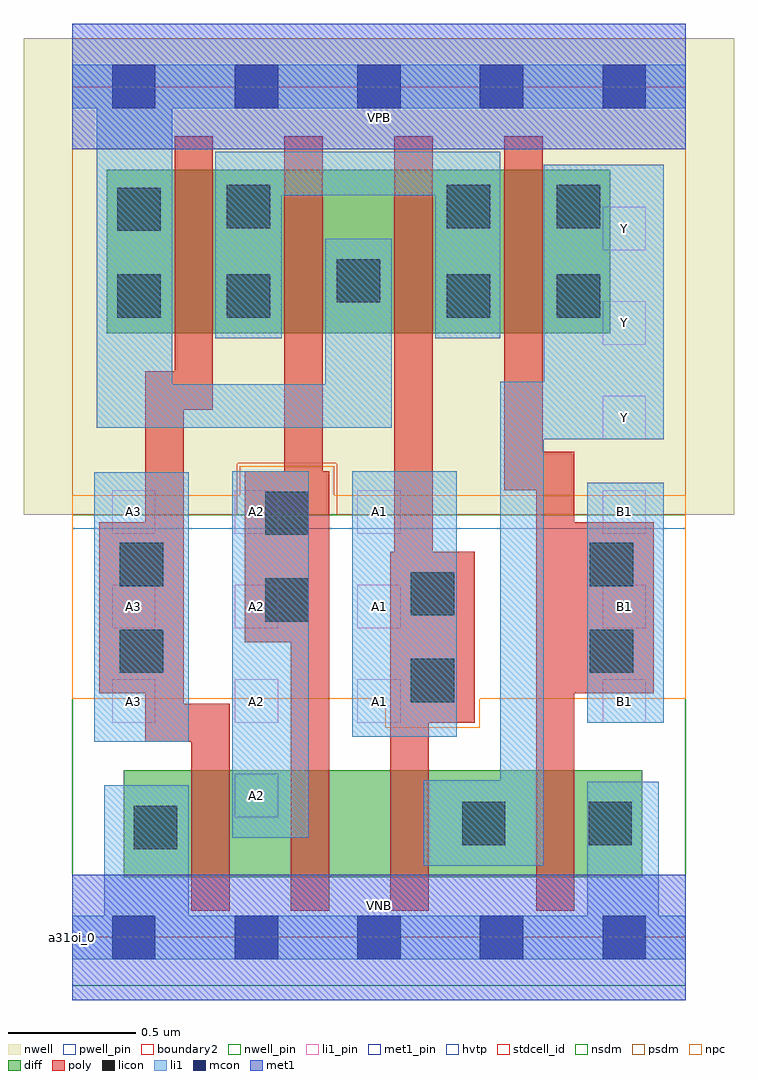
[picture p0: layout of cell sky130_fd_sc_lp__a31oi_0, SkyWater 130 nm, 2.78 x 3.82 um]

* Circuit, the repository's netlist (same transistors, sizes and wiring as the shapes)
* Copyright 2020 The SkyWater PDK Authors
*
* Licensed under the Apache License, Version 2.0 (the "License");
* you may not use this file except in compliance with the License.
* You may obtain a copy of the License at
*
*     https://www.apache.org/licenses/LICENSE-2.0
*
* Unless required by applicable law or agreed to in writing, software
* distributed under the License is distributed on an "AS IS" BASIS,
* WITHOUT WARRANTIES OR CONDITIONS OF ANY KIND, either express or implied.
* See the License for the specific language governing permissions and
* limitations under the License.
*
* SPDX-License-Identifier: Apache-2.0

.SUBCKT sky130_fd_sc_lp__a31oi_0 A1 A2 A3 B1 VGND VNB VPB VPWR Y
*.PININFO A1:I A2:I A3:I B1:I VGND:I VNB:I VPB:I VPWR:I Y:O
MMPA0 pndA A1 VPWR VPB sky130_fd_pr__pfet_01v8_hvt m=1 w=0.64U l=0.15U mult=1 sa=0.265
+ sb=0.265 sd=0.28 area=0.063 perim=1.14
MMPA1 pndA A2 VPWR VPB sky130_fd_pr__pfet_01v8_hvt m=1 w=0.64U l=0.15U mult=1 sa=0.265
+ sb=0.265 sd=0.28 area=0.063 perim=1.14
MMPA2 pndA A3 VPWR VPB sky130_fd_pr__pfet_01v8_hvt m=1 w=0.64U l=0.15U mult=1 sa=0.265
+ sb=0.265 sd=0.28 area=0.063 perim=1.14
MMPB0 Y B1 pndA VPB sky130_fd_pr__pfet_01v8_hvt m=1 w=0.64U l=0.15U mult=1 sa=0.265
+ sb=0.265 sd=0.28 area=0.063 perim=1.14
MMNA0 Y A1 sndA1 VNB sky130_fd_pr__nfet_01v8 m=1 w=0.42U l=0.15U mult=1 sa=0.265
+ sb=0.265 sd=0.28 area=0.063 perim=1.14
MMNA1 sndA1 A2 sndA2 VNB sky130_fd_pr__nfet_01v8 m=1 w=0.42U l=0.15U mult=1 sa=0.265
+ sb=0.265 sd=0.28 area=0.063 perim=1.14
MMNA2 sndA2 A3 VGND VNB sky130_fd_pr__nfet_01v8 m=1 w=0.42U l=0.15U mult=1 sa=0.265
+ sb=0.265 sd=0.28 area=0.063 perim=1.14
MMNB0 Y B1 VGND VNB sky130_fd_pr__nfet_01v8 m=1 w=0.42U l=0.15U mult=1 sa=0.265
+ sb=0.265 sd=0.28 area=0.063 perim=1.14
.ENDS sky130_fd_sc_lp__a31oi_0

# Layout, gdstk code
import gdstk
lib = gdstk.Library(unit=1e-6, precision=1e-09)
def R(c, l, rs):  # rectangles x0, y0, x1, y1
    for r in rs: c.add(gdstk.rectangle(r[:2], r[2:], *l))
def A(c, l, x, y, w, h, nx, ny, dx, dy):  # array of equal rectangles
    R(c, l, [(x+i*dx, y+j*dy, x+i*dx+w, y+j*dy+h) for i in range(nx) for j in range(ny)])
def P(c, l, *ps):  # polygons
    for p in ps: c.add(gdstk.Polygon(p, *l))
nwell_pin = (64, 16)
nwell = (64, 20)
diff = (65, 20)
poly = (66, 20)
licon = (66, 44)
li1_pin = (67, 16)
li1 = (67, 20)
mcon = (67, 44)
met1_pin = (68, 16)
met1 = (68, 20)
hvtp = (78, 44)
stdcell_id = (81, 4)
nsdm = (93, 44)
psdm = (94, 20)
npc = (95, 20)
pwell_pin = (122, 16)
boundary2 = (236, 0)

sky130_fd_sc_lp__a31oi_0 = lib.new_cell('sky130_fd_sc_lp__a31oi_0')
R(sky130_fd_sc_lp__a31oi_0, nwell_pin, [(0,3.085,2.4,3.33)])
R(sky130_fd_sc_lp__a31oi_0, nwell, [(-0.19,1.655,2.59,3.52)])
R(sky130_fd_sc_lp__a31oi_0, diff, [(0.2,0.235,2.23,0.655), (0.135,2.365,2.105,3.005)])
P(sky130_fd_sc_lp__a31oi_0, poly, [(1.575,1.51),(1.41,1.51),(1.41,3.135),(1.26,3.135),(1.26,1.51),(1.245,1.51),(1.245,0.105),(1.395,0.105),(1.395,0.84),(1.575,0.84)],
  [(0.615,0.915),(0.435,0.915),(0.435,2.065),(0.55,2.065),(0.55,3.135),(0.4,3.135),(0.4,2.215),(0.285,2.215),(0.285,1.625),(0.105,1.625),(0.105,0.955),(0.285,0.955),(0.285,0.765),(0.465,0.765),(0.465,0.105),(0.615,0.105)],
  [(1.005,1.825),(0.98,1.825),(0.98,3.135),(0.83,3.135),(0.83,1.825),(0.675,1.825),(0.675,1.155),(0.855,1.155),(0.855,0.105),(1.005,0.105)],
  [(2.275,1.625),(1.965,1.625),(1.965,1.9),(1.84,1.9),(1.84,3.135),(1.69,3.135),(1.69,1.75),(1.815,1.75),(1.815,0.105),(1.965,0.105),(1.965,0.955),(2.275,0.955)])
R(sky130_fd_sc_lp__a31oi_0, licon, [(0.24,0.345,0.41,0.515), (1.525,0.36,1.695,0.53), (2.02,0.36,2.19,0.53), (1.325,0.92,1.495,1.09), (0.185,1.035,0.355,1.205), (2.025,1.035,2.195,1.205), (0.755,1.235,0.925,1.405), (1.325,1.26,1.495,1.43), (0.185,1.375,0.355,1.545), (2.025,1.375,2.195,1.545), (0.755,1.575,0.925,1.745), (0.175,2.425,0.345,2.595), (0.605,2.425,0.775,2.595), (1.465,2.425,1.635,2.595), (1.895,2.425,2.065,2.595), (1.035,2.485,1.205,2.655), (0.175,2.765,0.345,2.935), (0.605,2.775,0.775,2.945), (1.465,2.775,1.635,2.945), (1.895,2.775,2.065,2.945)])
A(sky130_fd_sc_lp__a31oi_0, li1_pin, 0.155, 0.84, 0.17, 0.17, 3, 3, 0.48, 0.37)
A(sky130_fd_sc_lp__a31oi_0, li1_pin, 2.075, 0.84, 0.17, 0.17, 1, 6, 0, 0.37)
R(sky130_fd_sc_lp__a31oi_0, li1_pin, [(0.635,0.47,0.805,0.64)])
R(sky130_fd_sc_lp__a31oi_0, li1, [(0.625,0.39,0.925,1.825), (0.085,0.765,0.455,1.82), (1.095,0.785,1.505,1.825), (2.015,0.84,2.315,1.78)])
P(sky130_fd_sc_lp__a31oi_0, li1, [(2.4,3.415),(0,3.415),(0,3.245),(0.095,3.245),(0.095,1.995),(1.25,1.995),(1.25,2.735),(0.99,2.735),(0.99,2.165),(0.39,2.165),(0.39,3.245),(2.4,3.245)],
  [(2.4,0.085),(2.295,0.085),(2.295,0.61),(2.015,0.61),(2.015,0.085),(0.455,0.085),(0.455,0.595),(0.125,0.595),(0.125,0.085),(0,0.085),(0,-0.085),(2.4,-0.085)],
  [(1.675,3.075),(0.56,3.075),(0.56,2.345),(0.82,2.345),(0.82,2.905),(1.42,2.905),(1.42,2.345),(1.675,2.345)],
  [(2.315,3.025),(1.845,3.025),(1.845,2.175),(1.675,2.175),(1.675,0.615),(1.375,0.615),(1.375,0.28),(1.845,0.28),(1.845,1.95),(2.315,1.95)])
A(sky130_fd_sc_lp__a31oi_0, mcon, 0.155, -0.085, 0.17, 0.17, 5, 2, 0.48, 3.33)
R(sky130_fd_sc_lp__a31oi_0, met1_pin, [(0,0,2.4,0.245), (0,3.085,2.4,3.33)])
R(sky130_fd_sc_lp__a31oi_0, met1, [(0,-0.245,2.4,0.245), (0,3.085,2.4,3.575)])
R(sky130_fd_sc_lp__a31oi_0, hvtp, [(0,1.6,2.4,3.33)])
R(sky130_fd_sc_lp__a31oi_0, stdcell_id, [(0,0,2.4,3.33)])
R(sky130_fd_sc_lp__a31oi_0, nsdm, [(0,-0.19,2.4,1.655)])
P(sky130_fd_sc_lp__a31oi_0, psdm, [(2.4,3.52),(0,3.52),(0,1.655),(0.645,1.655),(0.645,1.855),(1.035,1.855),(1.035,1.655),(2.4,1.655)])
P(sky130_fd_sc_lp__a31oi_0, npc, [(2.4,1.73),(1.025,1.73),(1.025,1.845),(0.655,1.845),(0.655,1.73),(0,1.73),(0,0.935),(1.225,0.935),(1.225,0.82),(1.595,0.82),(1.595,0.935),(2.4,0.935)])
R(sky130_fd_sc_lp__a31oi_0, pwell_pin, [(0,0,2.4,0.245)])
R(sky130_fd_sc_lp__a31oi_0, boundary2, [(0,0,2.4,3.33)])
sky130_fd_sc_lp__a31oi_0.add(gdstk.Label('VNB', (1.2,0.123), layer=64, texttype=59))
sky130_fd_sc_lp__a31oi_0.add(gdstk.Label('VPB', (1.2,3.208), layer=64, texttype=5))
sky130_fd_sc_lp__a31oi_0.add(gdstk.Label('a31oi_0', (0,0), layer=83, texttype=44))
sky130_fd_sc_lp__a31oi_0.add(gdstk.Label('VPWR', (1.2,3.208), layer=68, texttype=5))
sky130_fd_sc_lp__a31oi_0.add(gdstk.Label('VGND', (1.2,0.123), layer=68, texttype=5))
sky130_fd_sc_lp__a31oi_0.add(gdstk.Label('A1', (1.2,0.925), layer=67, texttype=5))
sky130_fd_sc_lp__a31oi_0.add(gdstk.Label('A1', (1.2,1.295), layer=67, texttype=5))
sky130_fd_sc_lp__a31oi_0.add(gdstk.Label('A1', (1.2,1.665), layer=67, texttype=5))
sky130_fd_sc_lp__a31oi_0.add(gdstk.Label('Y', (2.16,2.035), layer=67, texttype=5))
sky130_fd_sc_lp__a31oi_0.add(gdstk.Label('A2', (0.72,0.555), layer=67, texttype=5))
sky130_fd_sc_lp__a31oi_0.add(gdstk.Label('A2', (0.72,0.925), layer=67, texttype=5))
sky130_fd_sc_lp__a31oi_0.add(gdstk.Label('A2', (0.72,1.295), layer=67, texttype=5))
sky130_fd_sc_lp__a31oi_0.add(gdstk.Label('A2', (0.72,1.665), layer=67, texttype=5))
sky130_fd_sc_lp__a31oi_0.add(gdstk.Label('A3', (0.24,0.925), layer=67, texttype=5))
sky130_fd_sc_lp__a31oi_0.add(gdstk.Label('A3', (0.24,1.295), layer=67, texttype=5))
sky130_fd_sc_lp__a31oi_0.add(gdstk.Label('A3', (0.24,1.665), layer=67, texttype=5))
sky130_fd_sc_lp__a31oi_0.add(gdstk.Label('B1', (2.16,0.925), layer=67, texttype=5))
sky130_fd_sc_lp__a31oi_0.add(gdstk.Label('B1', (2.16,1.295), layer=67, texttype=5))
sky130_fd_sc_lp__a31oi_0.add(gdstk.Label('B1', (2.16,1.665), layer=67, texttype=5))
sky130_fd_sc_lp__a31oi_0.add(gdstk.Label('Y', (2.16,2.775), layer=67, texttype=5))
sky130_fd_sc_lp__a31oi_0.add(gdstk.Label('Y', (2.16,2.405), layer=67, texttype=5))

lib.write_gds('sky130_fd_sc_lp__a31oi_0.gds')
